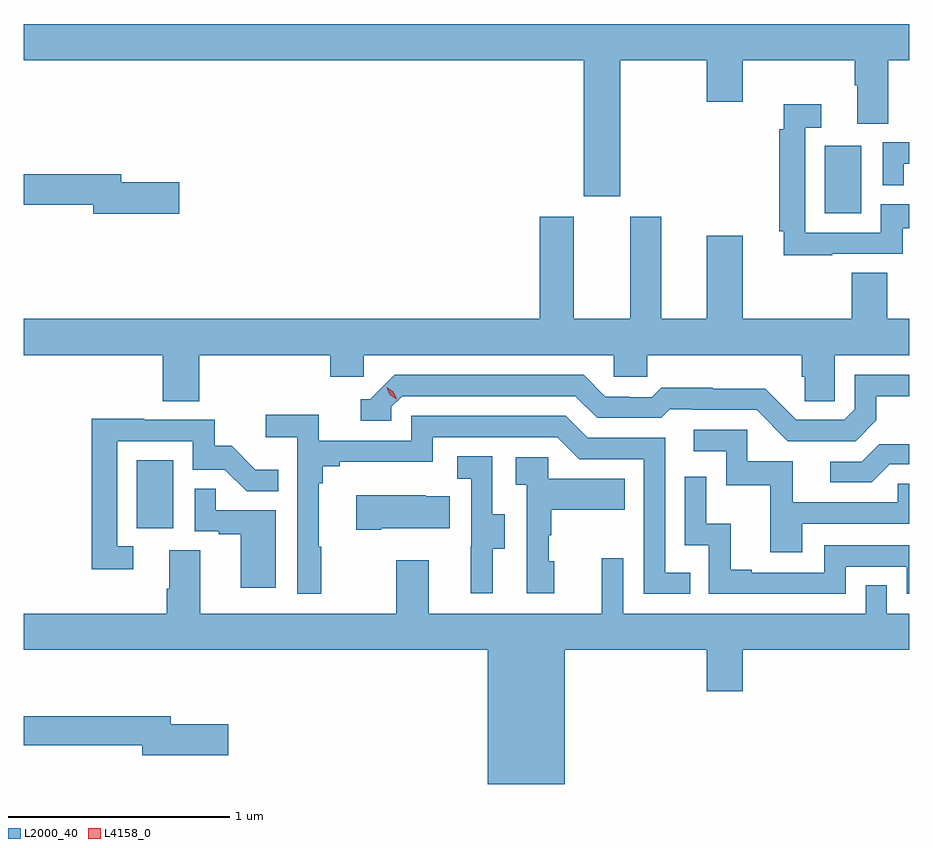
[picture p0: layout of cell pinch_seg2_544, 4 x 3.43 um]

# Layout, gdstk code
import gdstk
lib = gdstk.Library(unit=1e-6, precision=1e-09)
def R(c, l, rs):  # rectangles x0, y0, x1, y1
    for r in rs: c.add(gdstk.rectangle(r[:2], r[2:], *l))
def P(c, l, *ps):  # polygons
    for p in ps: c.add(gdstk.Polygon(p, *l))
L2000_40 = (2000, 40)
L4158_0 = (4158, 0)

pinch_seg2_544 = lib.new_cell('pinch_seg2_544')
R(pinch_seg2_544, L2000_40, [(1097.498,622.878,1097.662,623.185), (1100.606,624.3,1100.77,624.607)])
P(pinch_seg2_544, L2000_40, [(1099.681,624.992),(1100.072,624.992),(1100.072,624.804),(1100.236,624.804),(1100.236,624.992),(1100.741,624.992),(1100.741,624.88),(1100.753,624.88),(1100.753,624.706),(1100.893,624.706),(1100.893,624.992),(1100.987,624.992),(1100.987,625.156),(1096.987,625.156),(1096.987,624.992),(1099.517,624.992),(1099.517,624.378),(1099.681,624.378)],
  [(1100.639,624.117),(1100.958,624.117),(1100.958,624.234),(1100.987,624.234),(1100.987,624.342),(1100.859,624.342),(1100.859,624.213),(1100.517,624.213),(1100.517,624.687),(1100.59,624.687),(1100.59,624.793),(1100.42,624.793),(1100.42,624.68),(1100.401,624.68),(1100.401,624.22),(1100.42,624.22),(1100.42,624.112),(1100.639,624.112)],
  [(1100.963,624.525),(1100.987,624.525),(1100.987,624.621),(1100.868,624.621),(1100.868,624.427),(1100.963,624.427)],
  [(1097.689,624.44),(1097.428,624.44),(1097.428,624.476),(1096.987,624.476),(1096.987,624.34),(1097.3,624.34),(1097.3,624.298),(1097.689,624.298)],
  [(1097.78,623.66),(1098.371,623.66),(1098.371,623.562),(1098.522,623.562),(1098.522,623.66),(1099.653,623.66),(1099.653,623.562),(1099.803,623.562),(1099.803,623.66),(1100.501,623.66),(1100.501,623.562),(1100.515,623.562),(1100.515,623.452),(1100.652,623.452),(1100.652,623.66),(1100.987,623.66),(1100.987,623.824),(1100.888,623.824),(1100.888,624.032),(1100.728,624.032),(1100.728,623.824),(1100.236,623.824),(1100.236,624.199),(1100.072,624.199),(1100.072,623.824),(1099.867,623.824),(1099.867,624.286),(1099.727,624.286),(1099.727,623.824),(1099.471,623.824),(1099.471,624.286),(1099.319,624.286),(1099.319,623.824),(1096.987,623.824),(1096.987,623.66),(1097.615,623.66),(1097.615,623.452),(1097.78,623.452)],
  [(1100.839,623.365),(1100.839,623.475),(1100.987,623.475),(1100.987,623.571),(1100.742,623.571),(1100.742,623.415),(1100.694,623.367),(1100.478,623.367),(1100.336,623.509),(1100.1,623.509),(1100.1,623.512),(1099.867,623.512),(1099.825,623.469),(1099.722,623.469),(1099.722,623.472),(1099.615,623.472),(1099.516,623.571),(1098.663,623.571),(1098.552,623.46),(1098.509,623.46),(1098.509,623.364),(1098.648,623.364),(1098.648,623.427),(1098.696,623.475),(1099.479,623.475),(1099.578,623.376),(1099.867,623.376),(1099.906,623.415),(1100.005,623.415),(1100.005,623.412),(1100.298,623.412),(1100.439,623.271),(1100.745,623.271)],
  [(1098.331,622.793),(1098.319,622.793),(1098.319,623.081),(1098.338,623.081),(1098.338,623.158),(1098.415,623.158),(1098.415,623.177),(1098.834,623.177),(1098.834,623.289),(1099.398,623.289),(1099.497,623.19),(1099.788,623.19),(1099.788,622.581),(1099.997,622.581),(1099.997,622.677),(1099.884,622.677),(1099.884,623.286),(1099.534,623.286),(1099.435,623.385),(1098.738,623.385),(1098.738,623.274),(1098.32,623.274),(1098.32,623.39),(1098.081,623.39),(1098.081,623.288),(1098.222,623.288),(1098.222,622.581),(1098.331,622.581)],
  [(1097.482,622.797),(1097.409,622.797),(1097.409,623.271),(1097.751,623.271),(1097.751,623.142),(1097.895,623.142),(1097.993,623.044),(1098.137,623.044),(1098.137,623.143),(1098.033,623.143),(1097.926,623.25),(1097.85,623.25),(1097.85,623.367),(1097.531,623.367),(1097.531,623.372),(1097.293,623.372),(1097.293,622.692),(1097.482,622.692)],
  [(1100.503,622.899),(1100.987,622.899),(1100.987,623.079),(1100.935,623.079),(1100.935,622.995),(1100.461,622.995),(1100.461,623.181),(1100.256,623.181),(1100.256,623.322),(1100.013,623.322),(1100.013,623.226),(1100.16,623.226),(1100.16,623.073),(1100.359,623.073),(1100.359,622.77),(1100.503,622.77)],
  [(1100.899,623.166),(1100.987,623.166),(1100.987,623.258),(1100.852,623.258),(1100.772,623.178),(1100.631,623.178),(1100.631,623.085),(1100.818,623.085)],
  [(1099.105,622.786),(1099.159,622.786),(1099.159,622.941),(1099.104,622.941),(1099.104,623.204),(1098.945,623.204),(1098.945,623.101),(1099.008,623.101),(1099.008,622.797),(1099.007,622.797),(1099.007,622.584),(1099.105,622.584)],
  [(1099.384,622.728),(1099.359,622.728),(1099.359,622.847),(1099.369,622.847),(1099.369,622.961),(1099.703,622.961),(1099.703,623.101),(1099.356,623.101),(1099.356,623.199),(1099.209,623.199),(1099.209,623.075),(1099.26,623.075),(1099.26,622.584),(1099.384,622.584)],
  [(1100.7,622.704),(1100.976,622.704),(1100.976,622.581),(1100.987,622.581),(1100.987,622.8),(1100.604,622.8),(1100.604,622.677),(1100.275,622.677),(1100.275,622.69),(1100.18,622.69),(1100.18,622.898),(1100.07,622.898),(1100.07,623.11),(1099.974,623.11),(1099.974,622.8),(1100.082,622.8),(1100.082,622.581),(1100.7,622.581)],
  [(1098.124,622.959),(1097.855,622.959),(1097.855,623.057),(1097.76,623.057),(1097.76,622.863),(1097.867,622.863),(1097.867,622.851),(1097.966,622.851),(1097.966,622.608),(1098.124,622.608)],
  [(1098.601,622.877),(1098.911,622.877),(1098.911,623.023),(1098.803,623.023),(1098.803,623.026),(1098.489,623.026),(1098.489,622.87),(1098.601,622.87)],
  [(1099.432,622.328),(1100.072,622.328),(1100.072,622.14),(1100.236,622.14),(1100.236,622.328),(1100.987,622.328),(1100.987,622.492),(1100.886,622.492),(1100.886,622.619),(1100.79,622.619),(1100.79,622.492),(1099.695,622.492),(1099.695,622.741),(1099.598,622.741),(1099.598,622.492),(1098.817,622.492),(1098.817,622.732),(1098.67,622.732),(1098.67,622.492),(1097.785,622.492),(1097.785,622.778),(1097.645,622.778),(1097.645,622.604),(1097.633,622.604),(1097.633,622.492),(1096.987,622.492),(1096.987,622.328),(1099.082,622.328),(1099.082,621.722),(1099.432,621.722)],
  [(1097.911,621.993),(1097.65,621.993),(1097.65,622.027),(1096.987,622.027),(1096.987,621.898),(1097.522,621.898),(1097.522,621.851),(1097.911,621.851)])
P(pinch_seg2_544, L4158_0, [(1098.672,623.461),(1098.641,623.481),(1098.626,623.514),(1098.626,623.514),(1098.626,623.514),(1098.656,623.494),(1098.672,623.461),(1098.672,623.461)])

lib.write_gds('pinch_seg2_544.gds')
